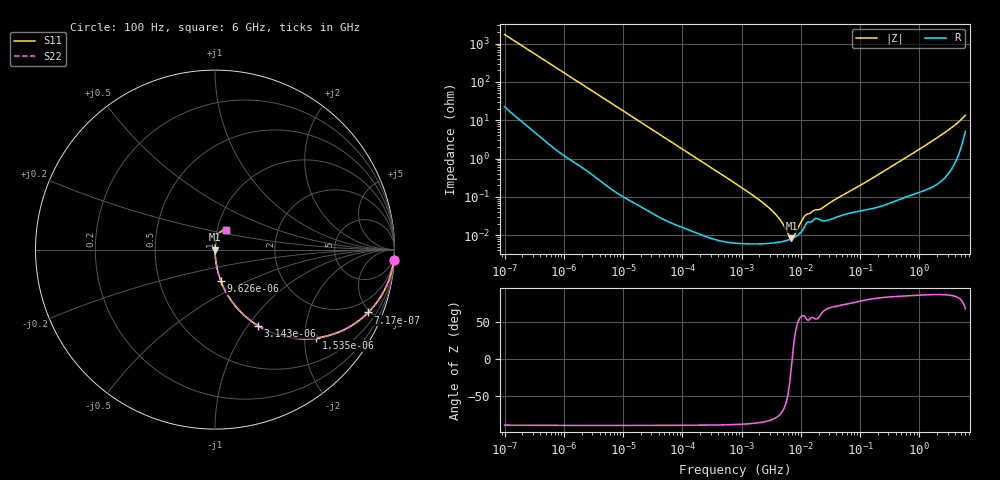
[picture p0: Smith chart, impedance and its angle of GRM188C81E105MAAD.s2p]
!Murata Part Number: GRM188C81E105MAAD
!These Parameters are Measured in Series Mode Connection
!Data Generated on Mar 30, 2021
!  o--ll--o
!Port1  Port2
!  o------o
!Operation Temp=25[degC], DC Bias Voltage=0[V]
!Freq. Start=100[Hz] Stop=6[GHz] 401[Steps]
# Hz S RI R 50
!Freq.(Hz) S11(Real) S11(Imag) S21(Real) S21(Imag) S12(Real) S12(Imag) S22(Real) S22(Imag)
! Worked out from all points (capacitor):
!   401 points, 100 Hz to 6 GHz, reference 50 ohm
!   read as one part in series: C = 919 nF near 109 Hz
!   lowest |Z| = 8.22 mohm at 6.949 MHz (marker M1)
!   series resonance near 7.145 MHz, so ESL is about 540 pH
!   S11 on the Smith chart (normalised r, x): 100 Hz: 1, -35; 717 Hz: 1.03, -4.86; 1.535 kHz: 1.02, -2.28; 3.143 kHz: 1.01, -1.12; 9.626 kHz: 1.00, -0.37; 6 GHz: 1.10, +0.25
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100  0.9959 -0.0576  0.00408 0.0576  0.00408 0.0576  0.9959 -0.0576
335  0.9627 -0.1851  0.0373 0.1851  0.0373 0.1851  0.9627 -0.1851
717  0.8536 -0.3499  0.1464 0.3499  0.1464 0.3499  0.8536 -0.3499
1535  0.5644 -0.4924  0.4356 0.4924  0.4356 0.4924  0.5644 -0.4924
2008  0.4324 -0.492  0.5676 0.492  0.5676 0.492  0.4324 -0.492
3143  0.2391 -0.4233  0.7609 0.4233  0.7609 0.4233  0.2391 -0.4233
5143  0.1061 -0.305  0.8939 0.305  0.8939 0.305  0.1061 -0.305
9626  0.0333 -0.1767  0.9667 0.1767  0.9667 0.1767  0.0333 -0.1767
40335  0.00222 -0.0438  0.9978 0.0438  0.9978 0.0438  0.00222 -0.0438
774597  6.73e-05 -0.00228  0.9999 0.00228  0.9999 0.00228  6.73e-05 -0.00228
1813585  6.02e-05 -0.000923  0.9999 0.000923  0.9999 0.000923  6.02e-05 -0.000923
3103719  6.2e-05 -0.000469  0.9999 0.000469  0.9999 0.000469  6.2e-05 -0.000469
4440638  6.65e-05 -0.000249  0.9999 0.000249  0.9999 0.000249  6.65e-05 -0.000249
6075234  7.5e-05 -8.25e-05  0.9999 8.25e-05  0.9999 8.25e-05  7.5e-05 -8.25e-05
6948629  8.1e-05 -1.41e-05  0.9999 1.41e-05  0.9999 1.41e-05  8.1e-05 -1.41e-05
7947587  8.98e-05 5.49e-05  0.9999 -5.49e-05  0.9999 -5.49e-05  8.98e-05 5.49e-05
1.189169e7  0.000182 0.000273  0.9998 -0.000273  0.9998 -0.000273  0.000182 0.000273
1.555665e7  0.000233 0.00034  0.9998 -0.00034  0.9998 -0.00034  0.000233 0.00034
2.225763e7  0.000243 0.000433  0.9998 -0.000433  0.9998 -0.000433  0.000243 0.000433
3.124326e8  0.000709 0.00571  0.9993 -0.00571  0.9993 -0.00571  0.000709 0.00571
2.142435e9  0.00369 0.0372  0.9963 -0.0372  0.9963 -0.0372  0.00369 0.0372
6e9  0.0622 0.1106  0.9378 -0.1106  0.9378 -0.1106  0.0622 0.1106
